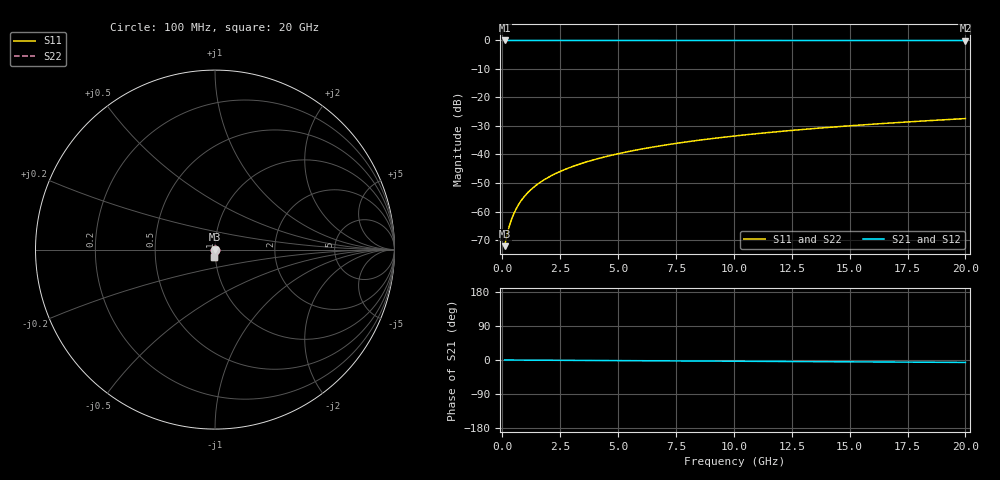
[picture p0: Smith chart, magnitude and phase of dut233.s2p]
! Touchstone file exported from HFSS 2026.1.0
!  File:  C:/ffzhzh/LocalFiles/Ansys_Project_Files/temp_train_TSV_233_1782992425_41620.aedt
!  Generated:  07:41:53 PM Jul  2, 2026
!  Design:  TSV
!  Project:  temp_train_TSV_233_1782992425_41620
! Variables:
!  h_bsmrdl = 2um
!  h_ox = 20um
!  h_rdl = 5um
!  h_sub = 63.1um
!  h_tmrdl = 5um
!  h_tsv = 63.1um
!  h_via = 3um
!  l_bsmrdl = 300um
!  l_sub = 414.34um
!  l_tmrdl = 200um
!  m_sub = 200um
!  pitch = 20.55um
!  r_tsv = 7.17um
!  s_tmrdl = 10um
!  w_bsmrdl = 18um
!  w_sub = 500um
!  w_tmrdl = 12um
!  x_tsv_center1 = 206um
!  x_tsv_center2 = 524um
!  x_tsv_center3 = 736um
!  x_tsv_center4 = 1054um
!  x_tsv_center5 = 1266um
!  x_tsv_center6 = 1584um
# GHz S MA R 50.000000
! Terminal data exported
! Port[1] = TSV1_1_T1
! Port[2] = TSV1_1_T2
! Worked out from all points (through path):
!   200 points, 100 MHz to 20 GHz, reference 50 ohm
!   highest |S21| = 0.00 dB at 100 MHz (marker M1); lowest = 0.0 dB at 20 GHz (marker M2)
!   lowest |S11| = -72.2 dB at 100 MHz (marker M3), VSWR 1.00, Z = 50 - j0.0158 ohm
!   |S11| at or under -10 dB: start of sweep to end of sweep
!   |S22| runs from -72.2 to -27.4 dB; largest |S21 - S12| = 4.7e-15
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0.1  0.0002466 -39.8  0.9998 -0.0  0.9998 -0.0  0.0002466 -39.8
! Gamma 0 0 0 0
! Port Impedance 50 0 50 0
0.2  0.0003837 -57.0  0.9998 -0.1  0.9998 -0.1  0.0003837 -57.0
0.3  0.0005488 -64.6  0.9998 -0.1  0.9998 -0.1  0.0005488 -64.6
0.4  0.0007294 -68.7  0.9997 -0.1  0.9997 -0.1  0.0007294 -68.7
0.5  0.00092 -71.4  0.9997 -0.2  0.9997 -0.2  0.00092 -71.4
0.6  0.001117 -73.4  0.9997 -0.2  0.9997 -0.2  0.001117 -73.4
0.8  0.001522 -76.3  0.9996 -0.3  0.9996 -0.3  0.001522 -76.3
1.1  0.002139 -79.1  0.9996 -0.4  0.9996 -0.4  0.002139 -79.1
1.3  0.002552 -80.4  0.9996 -0.4  0.9996 -0.4  0.002552 -80.4
1.5  0.002965 -81.5  0.9995 -0.5  0.9995 -0.5  0.002965 -81.5
1.8  0.003585 -82.7  0.9995 -0.6  0.9995 -0.6  0.003585 -82.7
2.1  0.004207 -83.5  0.9995 -0.7  0.9995 -0.7  0.004207 -83.5
2.7  0.005453 -84.8  0.9994 -0.9  0.9994 -0.9  0.005453 -84.8
3.5  0.007127 -85.9  0.9993 -1.1  0.9993 -1.1  0.007127 -85.9
4.2  0.008603 -86.6  0.9992 -1.4  0.9992 -1.4  0.008603 -86.6
5  0.0103 -87.2  0.9992 -1.6  0.9992 -1.6  0.0103 -87.2
6.8  0.01415 -88.4  0.999 -2.2  0.999 -2.2  0.01415 -88.4
8.3  0.01738 -89.2  0.9988 -2.7  0.9988 -2.7  0.01738 -89.2
10.1  0.02126 -90.2  0.9986 -3.3  0.9986 -3.3  0.02126 -90.2
13.4  0.02838 -91.7  0.9983 -4.3  0.9983 -4.3  0.02838 -91.7
16.7  0.03551 -93.0  0.9979 -5.4  0.9979 -5.4  0.03551 -93.0
20  0.04266 -94.2  0.9974 -6.4  0.9974 -6.4  0.04266 -94.2
